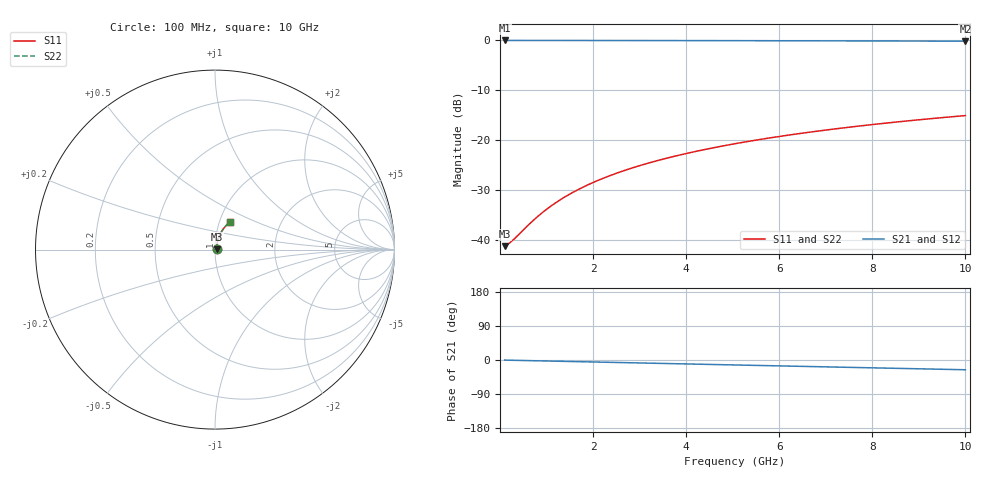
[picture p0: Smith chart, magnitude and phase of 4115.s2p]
# Hz S RI R 50.00
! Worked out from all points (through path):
!   100 points, 100 MHz to 10 GHz, reference 50 ohm
!   highest |S21| = -0.07 dB at 100 MHz (marker M1); lowest = -0.2 dB at 10 GHz (marker M2)
!   group delay of S21, straight-line fit = 7.16 ps
!   lowest |S11| = -41.2 dB at 100 MHz (marker M3), VSWR 1.02, Z = 50.9 + j0.183 ohm
!   |S11| at or under -10 dB: start of sweep to end of sweep
!   |S22| runs from -41.2 to -15.1 dB; largest |S21 - S12| = 0
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1e8  0.00855 0.0018  0.9914 -0.0045  0.9914 -0.0045  0.00855 0.0018
2e8  0.00863 0.0036  0.9914 -0.00899  0.9914 -0.00899  0.00863 0.0036
3e8  0.00871 0.0054  0.9913 -0.0135  0.9913 -0.0135  0.00871 0.0054
7e8  0.00914 0.0126  0.9907 -0.0315  0.9907 -0.0315  0.00914 0.0126
8e8  0.00928 0.0144  0.9905 -0.0359  0.9905 -0.0359  0.00928 0.0144
1e9  0.00961 0.018  0.99 -0.0449  0.99 -0.0449  0.00961 0.018
1.2e9  0.01 0.0215  0.9894 -0.0539  0.9894 -0.0539  0.01 0.0215
1.4e9  0.0105 0.0251  0.9888 -0.0628  0.9888 -0.0628  0.0105 0.0251
1.6e9  0.011 0.0287  0.9881 -0.0718  0.9881 -0.0718  0.011 0.0287
1.8e9  0.0115 0.0322  0.9872 -0.0807  0.9872 -0.0807  0.0115 0.0322
2.1e9  0.0125 0.0375  0.9858 -0.0941  0.9858 -0.0941  0.0125 0.0375
2.5e9  0.0141 0.0445  0.9836 -0.1119  0.9836 -0.1119  0.0141 0.0445
2.9e9  0.0158 0.0515  0.981 -0.1296  0.981 -0.1296  0.0158 0.0515
3.4e9  0.0184 0.06  0.9773 -0.1517  0.9773 -0.1517  0.0184 0.06
3.8e9  0.0207 0.0668  0.9739 -0.1693  0.9739 -0.1693  0.0207 0.0668
4.2e9  0.0233 0.0735  0.9701 -0.1867  0.9701 -0.1867  0.0233 0.0735
5.1e9  0.03 0.0881  0.9604 -0.2256  0.9604 -0.2256  0.03 0.0881
5.9e9  0.0368 0.1006  0.9502 -0.2596  0.9502 -0.2596  0.0368 0.1006
6.7e9  0.0446 0.1125  0.9388 -0.293  0.9388 -0.293  0.0446 0.1125
7.5e9  0.0531 0.1238  0.926 -0.3258  0.926 -0.3258  0.0531 0.1238
8.4e9  0.0636 0.1357  0.9101 -0.3619  0.9101 -0.3619  0.0636 0.1357
1e10  0.0844 0.1545  0.8783 -0.4236  0.8783 -0.4236  0.0844 0.1545
